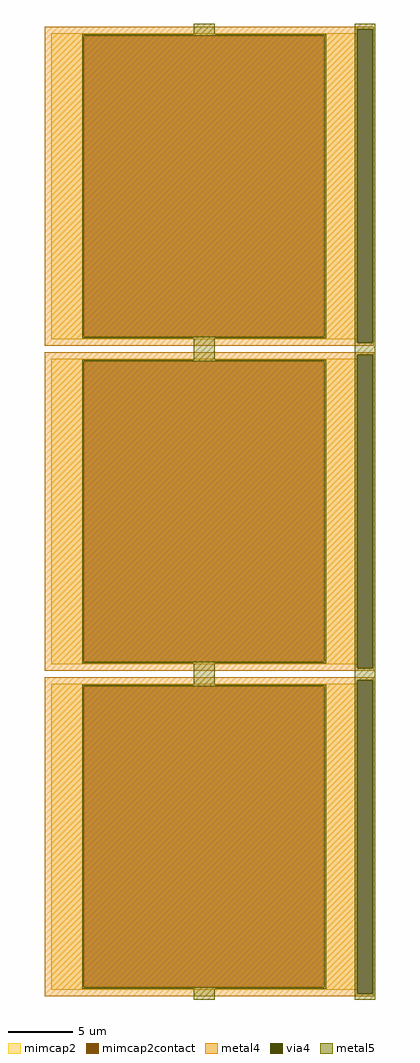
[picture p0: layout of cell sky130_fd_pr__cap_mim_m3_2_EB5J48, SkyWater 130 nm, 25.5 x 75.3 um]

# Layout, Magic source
magic
tech sky130A
magscale 1 2
<< metal4 >>
rect -2539 7439 2539 7480
rect -2539 2601 2283 7439
rect 2519 2601 2539 7439
rect -2539 2560 2539 2601
rect -2539 2419 2539 2460
rect -2539 -2419 2283 2419
rect 2519 -2419 2539 2419
rect -2539 -2460 2539 -2419
rect -2539 -2601 2539 -2560
rect -2539 -7439 2283 -2601
rect 2519 -7439 2539 -2601
rect -2539 -7480 2539 -7439
<< via4 >>
rect 2283 2601 2519 7439
rect 2283 -2419 2519 2419
rect 2283 -7439 2519 -2601
<< mimcap2 >>
rect -2439 7340 2281 7380
rect -2439 2700 -1935 7340
rect 1777 2700 2281 7340
rect -2439 2660 2281 2700
rect -2439 2320 2281 2360
rect -2439 -2320 -1935 2320
rect 1777 -2320 2281 2320
rect -2439 -2360 2281 -2320
rect -2439 -2700 2281 -2660
rect -2439 -7340 -1935 -2700
rect 1777 -7340 2281 -2700
rect -2439 -7380 2281 -7340
<< mimcap2contact >>
rect -1935 2700 1777 7340
rect -1935 -2320 1777 2320
rect -1935 -7340 1777 -2700
<< metal5 >>
rect -239 7364 81 7530
rect 2241 7439 2561 7530
rect -1959 7340 1801 7364
rect -1959 2700 -1935 7340
rect 1777 2700 1801 7340
rect -1959 2676 1801 2700
rect -239 2344 81 2676
rect 2241 2601 2283 7439
rect 2519 2601 2561 7439
rect 2241 2419 2561 2601
rect -1959 2320 1801 2344
rect -1959 -2320 -1935 2320
rect 1777 -2320 1801 2320
rect -1959 -2344 1801 -2320
rect -239 -2676 81 -2344
rect 2241 -2419 2283 2419
rect 2519 -2419 2561 2419
rect 2241 -2601 2561 -2419
rect -1959 -2700 1801 -2676
rect -1959 -7340 -1935 -2700
rect 1777 -7340 1801 -2700
rect -1959 -7364 1801 -7340
rect -239 -7530 81 -7364
rect 2241 -7439 2283 -2601
rect 2519 -7439 2561 -2601
rect 2241 -7530 2561 -7439
<< properties >>
string gencell sky130_fd_pr__cap_mim_m3_2
string FIXED_BBOX -2539 2560 2381 7480
string parameters w 23.6 l 23.6 val 1.131k carea 2.00 cperi 0.19 nx 1 ny 3 dummy 0 square 0 lmin 2.00 wmin 2.00 lmax 30.0 wmax 30.0 dc 0 bconnect 1 tconnect 1 ccov 80
string library sky130
<< end >>
